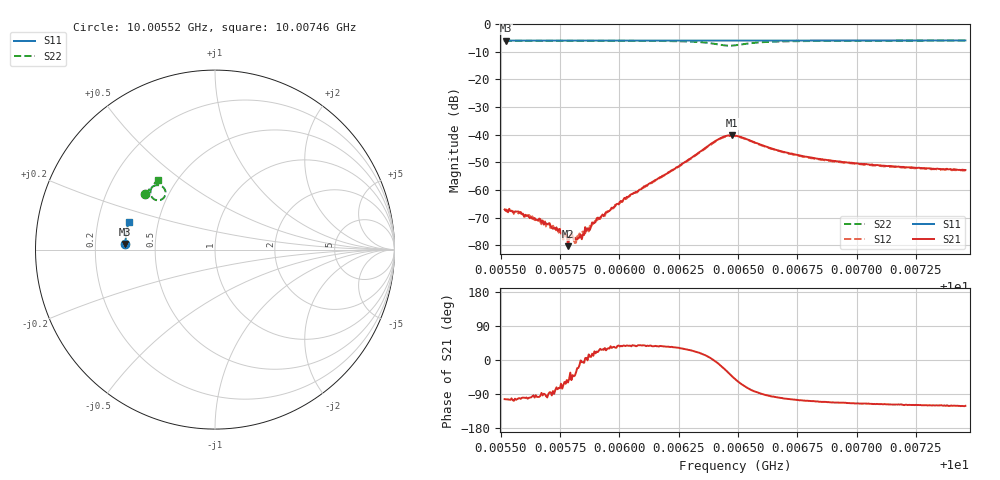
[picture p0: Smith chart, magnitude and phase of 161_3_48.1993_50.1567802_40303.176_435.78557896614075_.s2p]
#  HZ  S  RI  R  50.00
! Rohde & Schwarz Vector Network Analyzer
! Rohde-Schwarz,ZNB20-2Port,1311601062101988,3.16
! Created: UTC 3/20/2024, 11:43:14 AM
! freq[Hz]  re:S11  im:S11  re:S21  im:S21  re:S12  im:S12  re:S22  im:S22
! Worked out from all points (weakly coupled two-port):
!   401 points, 10.00552 GHz to 10.00746 GHz, reference 50 ohm
!   highest |S21| = -40.17 dB at 10.00647 GHz (marker M1); lowest = -80.2 dB at 10.00578 GHz (marker M2)
!   lowest |S11| = -6.0 dB at 10.00552 GHz (marker M3), VSWR 3.01, Z = 16.7 + j1.4 ohm
!   |S11| at or under -10 dB: nowhere
!   |S22| runs from -7.8 to -6.0 dB; largest |S21 - S12| = 0.00058
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1.0005516e10  -0.4998 0.0311  -0.000103 -0.000434  -8.11e-05 -0.000419  -0.3894 0.3085
1.0005521e10  -0.4996 0.0315  -9.89e-05 -0.000411  -7.55e-05 -0.000444  -0.3891 0.3087
1.0005574e10  -0.4996 0.0349  -8.12e-05 -0.000404  -5.63e-05 -0.000374  -0.3868 0.3118
1.0005667e10  -0.4993 0.0411  -2.33e-05 -0.000298  -3.71e-05 -0.000264  -0.3824 0.3174
1.000574e10  -0.499 0.0457  4.09e-05 -0.000179  3.54e-05 -0.000191  -0.3788 0.3219
1.0005769e10  -0.4988 0.0475  8.13e-05 -0.00013  5.9e-05 -0.000159  -0.3774 0.3237
1.0005783e10  -0.4988 0.0484  4.97e-05 -8.36e-05  7.43e-05 -0.000116  -0.3763 0.3248
1.0005798e10  -0.4988 0.0494  0.000103 -0.000138  8.86e-05 -0.0001  -0.3758 0.3257
1.0005808e10  -0.4986 0.0501  9.06e-05 -8.48e-05  0.000105 -8.32e-05  -0.3752 0.3262
1.0005817e10  -0.4987 0.0506  0.000107 -6.82e-05  9.33e-05 -6.38e-05  -0.3747 0.3269
1.0005842e10  -0.4986 0.0523  0.000129 -1.31e-05  0.00017 -2.36e-05  -0.3733 0.3287
1.0005861e10  -0.4986 0.0536  0.000183 1.79e-05  0.000192 3.28e-05  -0.3724 0.3298
1.0005914e10  -0.4981 0.057  0.000273 0.00013  0.000273 0.000138  -0.3688 0.3332
1.0006016e10  -0.4975 0.0637  0.000524 0.000411  0.000499 0.000392  -0.3617 0.3403
1.0006167e10  -0.4964 0.0733  0.00135 0.000968  0.00126 0.00101  -0.3468 0.3514
1.000641e10  -0.4937 0.0889  0.0079 -0.00079  0.00774 -0.000366  -0.278 0.3311
1.0006473e10  -0.4931 0.0923  0.00733 -0.00652  0.00747 -0.006  -0.294 0.2814
1.0006487e10  -0.493 0.0932  0.00615 -0.00743  0.00641 -0.00695  -0.3059 0.2759
1.0006662e10  -0.4919 0.1043  -0.000747 -0.00527  -0.000509 -0.00522  -0.3597 0.3202
1.0006813e10  -0.4901 0.114  -0.00121 -0.00363  -0.00106 -0.00361  -0.3535 0.3437
1.0007138e10  -0.4856 0.1345  -0.00125 -0.00243  -0.00107 -0.00242  -0.3356 0.3696
1.0007458e10  -0.4801 0.1546  -0.00119 -0.00198  -0.00108 -0.00197  -0.3189 0.3874
